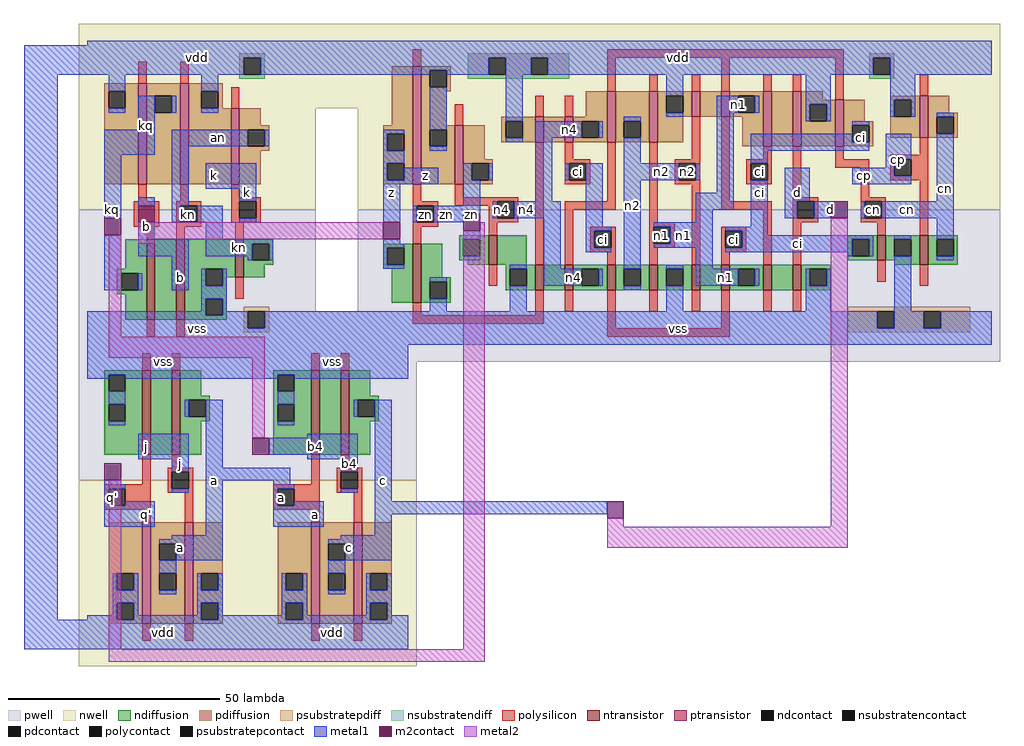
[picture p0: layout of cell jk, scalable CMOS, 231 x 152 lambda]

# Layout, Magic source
magic
tech scmos
<< pwell >>
rect -66 12 -10 36
rect 0 12 152 36
rect -66 0 152 12
rect -66 -28 14 0
<< nwell >>
rect -66 60 152 80
rect -66 36 -10 60
rect 0 36 152 60
rect -66 -72 14 -28
<< polysilicon >>
rect -52 66 -50 71
rect -42 66 -40 71
rect 13 70 15 74
rect -30 60 -28 65
rect 59 72 115 74
rect 59 64 61 72
rect 69 64 71 68
rect 79 64 81 68
rect 86 64 88 72
rect 96 64 98 68
rect 103 64 105 68
rect 23 56 25 61
rect 42 58 44 63
rect 49 58 51 63
rect -52 38 -50 42
rect -42 38 -40 42
rect -30 39 -28 42
rect -30 38 -23 39
rect -53 32 -47 38
rect -43 37 -37 38
rect -43 33 -42 37
rect -38 33 -37 37
rect -30 34 -28 38
rect -24 34 -23 38
rect -30 33 -23 34
rect 13 38 15 42
rect 23 39 25 42
rect 23 38 38 39
rect 13 37 19 38
rect 23 37 33 38
rect 13 33 14 37
rect 18 33 19 37
rect -43 32 -37 33
rect -50 29 -48 32
rect -43 29 -41 32
rect -29 29 -27 33
rect 13 32 19 33
rect 31 34 33 37
rect 37 34 38 38
rect 31 33 38 34
rect 13 28 15 32
rect 31 30 33 33
rect -29 15 -27 20
rect 42 23 44 52
rect 49 48 51 52
rect 49 47 55 48
rect 49 43 50 47
rect 54 43 55 47
rect 49 42 55 43
rect 59 38 61 52
rect 49 36 61 38
rect 49 23 51 36
rect 69 33 71 52
rect 79 48 81 58
rect 75 47 81 48
rect 75 43 76 47
rect 80 43 81 47
rect 75 42 81 43
rect 69 32 75 33
rect 55 31 61 32
rect 55 27 56 31
rect 60 27 61 31
rect 55 26 61 27
rect 59 23 61 26
rect 69 28 70 32
rect 74 28 75 32
rect 69 27 75 28
rect 69 23 71 27
rect 79 23 81 42
rect 86 38 88 58
rect 113 62 115 72
rect 133 63 135 68
rect 96 48 98 51
rect 92 47 98 48
rect 92 43 93 47
rect 97 43 98 47
rect 92 42 98 43
rect 103 39 105 51
rect 113 48 115 51
rect 133 49 135 53
rect 126 48 135 49
rect 113 46 121 48
rect 119 39 121 46
rect 126 44 127 48
rect 131 44 135 48
rect 126 43 135 44
rect 103 38 109 39
rect 86 36 98 38
rect 86 31 92 32
rect 86 27 87 31
rect 91 27 92 31
rect 86 26 92 27
rect 86 23 88 26
rect 96 23 98 36
rect 103 34 104 38
rect 108 34 109 38
rect 103 33 109 34
rect 119 38 125 39
rect 119 34 120 38
rect 124 34 125 38
rect 119 33 125 34
rect 103 23 105 33
rect 123 30 125 33
rect 133 30 135 43
rect 31 18 33 23
rect 123 19 125 24
rect 133 18 135 23
rect -50 6 -48 10
rect -43 6 -41 10
rect 13 11 15 14
rect 42 11 44 17
rect 49 12 51 17
rect 13 9 44 11
rect 59 8 61 17
rect 69 12 71 17
rect 79 12 81 17
rect 86 8 88 17
rect 96 12 98 17
rect 103 12 105 17
rect 59 6 88 8
rect -51 -2 -49 2
rect -44 -2 -42 2
rect -11 -2 -9 2
rect -4 -2 -2 2
rect -51 -29 -49 -22
rect -44 -25 -42 -22
rect -60 -30 -49 -29
rect -60 -34 -59 -30
rect -55 -34 -49 -30
rect -45 -26 -39 -25
rect -45 -30 -44 -26
rect -40 -30 -39 -26
rect -11 -29 -9 -22
rect -4 -25 -2 -22
rect -45 -31 -39 -30
rect -60 -35 -49 -34
rect -51 -38 -49 -35
rect -41 -38 -39 -31
rect -20 -30 -9 -29
rect -20 -34 -19 -30
rect -15 -34 -9 -30
rect -5 -26 1 -25
rect -5 -30 -4 -26
rect 0 -30 1 -26
rect -5 -31 1 -30
rect -20 -35 -9 -34
rect -11 -38 -9 -35
rect -1 -38 1 -31
rect -51 -66 -49 -62
rect -41 -66 -39 -62
rect -11 -66 -9 -62
rect -1 -66 1 -62
<< ndiffusion >>
rect -55 22 -50 29
rect -57 21 -50 22
rect -57 17 -56 21
rect -52 17 -50 21
rect -57 16 -50 17
rect -55 10 -50 16
rect -48 10 -43 29
rect -41 22 -29 29
rect -41 18 -36 22
rect -32 20 -29 22
rect -27 28 -20 29
rect 24 29 31 30
rect -27 24 -25 28
rect -21 24 -20 28
rect -27 23 -20 24
rect 6 27 13 28
rect 6 23 7 27
rect 11 23 13 27
rect -27 20 -22 23
rect 6 22 13 23
rect -32 18 -31 20
rect -41 15 -31 18
rect -41 11 -36 15
rect -32 11 -31 15
rect 8 14 13 22
rect 15 20 20 28
rect 24 25 25 29
rect 29 25 31 29
rect 24 24 31 25
rect 26 23 31 24
rect 33 23 40 30
rect 116 29 123 30
rect 116 25 117 29
rect 121 25 123 29
rect 116 24 123 25
rect 125 29 133 30
rect 125 25 127 29
rect 131 25 133 29
rect 125 24 133 25
rect 15 19 22 20
rect 15 15 17 19
rect 21 15 22 19
rect 35 22 42 23
rect 35 18 36 22
rect 40 18 42 22
rect 35 17 42 18
rect 44 17 49 23
rect 51 22 59 23
rect 51 18 53 22
rect 57 18 59 22
rect 51 17 59 18
rect 61 22 69 23
rect 61 18 63 22
rect 67 18 69 22
rect 61 17 69 18
rect 71 22 79 23
rect 71 18 73 22
rect 77 18 79 22
rect 71 17 79 18
rect 81 17 86 23
rect 88 22 96 23
rect 88 18 90 22
rect 94 18 96 22
rect 88 17 96 18
rect 98 17 103 23
rect 105 22 112 23
rect 105 18 107 22
rect 111 18 112 22
rect 127 23 133 24
rect 135 29 142 30
rect 135 25 137 29
rect 141 25 142 29
rect 135 23 142 25
rect 105 17 112 18
rect 15 14 22 15
rect -41 10 -31 11
rect -60 -3 -51 -2
rect -60 -7 -59 -3
rect -55 -7 -51 -3
rect -60 -10 -51 -7
rect -60 -14 -59 -10
rect -55 -14 -51 -10
rect -60 -22 -51 -14
rect -49 -22 -44 -2
rect -42 -8 -37 -2
rect -20 -3 -11 -2
rect -20 -7 -19 -3
rect -15 -7 -11 -3
rect -42 -9 -35 -8
rect -42 -13 -40 -9
rect -36 -13 -35 -9
rect -42 -14 -35 -13
rect -20 -10 -11 -7
rect -20 -14 -19 -10
rect -15 -14 -11 -10
rect -42 -22 -37 -14
rect -20 -22 -11 -14
rect -9 -22 -4 -2
rect -2 -8 3 -2
rect -2 -9 5 -8
rect -2 -13 0 -9
rect 4 -13 5 -9
rect -2 -14 5 -13
rect -2 -22 3 -14
<< pdiffusion >>
rect -60 64 -52 66
rect -60 60 -59 64
rect -55 60 -52 64
rect -60 42 -52 60
rect -50 63 -42 66
rect -50 59 -48 63
rect -44 59 -42 63
rect -50 42 -42 59
rect -40 64 -32 66
rect -40 60 -37 64
rect -33 60 -32 64
rect -40 42 -30 60
rect -28 56 -23 60
rect 8 56 13 70
rect -28 55 -21 56
rect -28 51 -26 55
rect -22 51 -21 55
rect -28 50 -21 51
rect 6 54 13 56
rect 6 50 7 54
rect 11 50 13 54
rect -28 42 -23 50
rect 6 47 13 50
rect 6 43 7 47
rect 11 43 13 47
rect 6 42 13 43
rect 15 69 22 70
rect 15 65 17 69
rect 21 65 22 69
rect 15 64 22 65
rect 15 56 21 64
rect 54 58 59 64
rect 34 57 42 58
rect 15 55 23 56
rect 15 51 17 55
rect 21 51 23 55
rect 15 42 23 51
rect 25 48 30 56
rect 34 53 35 57
rect 39 53 42 57
rect 34 52 42 53
rect 44 52 49 58
rect 51 57 59 58
rect 51 53 53 57
rect 57 53 59 57
rect 51 52 59 53
rect 61 57 69 64
rect 61 53 63 57
rect 67 53 69 57
rect 61 52 69 53
rect 71 63 79 64
rect 71 59 73 63
rect 77 59 79 63
rect 71 58 79 59
rect 81 58 86 64
rect 88 63 96 64
rect 88 59 90 63
rect 94 59 96 63
rect 88 58 96 59
rect 71 52 77 58
rect 25 47 32 48
rect 25 43 27 47
rect 31 43 32 47
rect 25 42 32 43
rect 91 51 96 58
rect 98 51 103 64
rect 105 62 110 64
rect 126 62 133 63
rect 105 61 113 62
rect 105 57 107 61
rect 111 57 113 61
rect 105 51 113 57
rect 115 57 120 62
rect 126 58 127 62
rect 131 58 133 62
rect 115 56 122 57
rect 115 52 117 56
rect 121 52 122 56
rect 126 53 133 58
rect 135 59 140 63
rect 135 58 142 59
rect 135 54 137 58
rect 141 54 142 58
rect 135 53 142 54
rect 115 51 122 52
rect -59 -50 -51 -38
rect -59 -54 -57 -50
rect -53 -54 -51 -50
rect -59 -57 -51 -54
rect -59 -61 -57 -57
rect -53 -61 -51 -57
rect -59 -62 -51 -61
rect -49 -43 -41 -38
rect -49 -47 -47 -43
rect -43 -47 -41 -43
rect -49 -50 -41 -47
rect -49 -54 -47 -50
rect -43 -54 -41 -50
rect -49 -62 -41 -54
rect -39 -50 -32 -38
rect -39 -54 -37 -50
rect -33 -54 -32 -50
rect -39 -57 -32 -54
rect -39 -61 -37 -57
rect -33 -61 -32 -57
rect -39 -62 -32 -61
rect -19 -50 -11 -38
rect -19 -54 -17 -50
rect -13 -54 -11 -50
rect -19 -57 -11 -54
rect -19 -61 -17 -57
rect -13 -61 -11 -57
rect -19 -62 -11 -61
rect -9 -43 -1 -38
rect -9 -47 -7 -43
rect -3 -47 -1 -43
rect -9 -50 -1 -47
rect -9 -54 -7 -50
rect -3 -54 -1 -50
rect -9 -62 -1 -54
rect 1 -50 8 -38
rect 1 -54 3 -50
rect 7 -54 8 -50
rect 1 -57 8 -54
rect 1 -61 3 -57
rect 7 -61 8 -57
rect 1 -62 8 -61
<< metal1 >>
rect -64 75 150 76
rect -79 72 150 75
rect -79 68 -27 72
rect -23 69 31 72
rect -23 68 17 69
rect -79 -61 -71 68
rect -59 64 -55 68
rect -37 64 -33 68
rect -59 59 -55 60
rect -52 55 -48 63
rect -44 59 -43 63
rect -37 59 -33 60
rect 21 68 31 69
rect 35 68 41 72
rect 45 68 122 72
rect 126 68 150 72
rect 17 55 21 65
rect -60 49 -48 55
rect -44 51 -26 55
rect -22 51 -21 55
rect 6 54 11 55
rect -60 34 -56 49
rect -60 17 -56 30
rect -52 37 -48 39
rect -44 37 -40 51
rect 6 50 7 54
rect 35 57 39 68
rect 73 63 77 68
rect 73 58 77 59
rect 85 59 90 63
rect 94 59 95 63
rect 106 61 112 68
rect 63 57 67 58
rect 35 52 39 53
rect 42 53 53 57
rect 57 53 58 57
rect 17 50 21 51
rect 6 47 11 50
rect -36 41 -24 47
rect -28 38 -24 41
rect -44 33 -42 37
rect -38 33 -32 37
rect -28 33 -24 34
rect 6 43 7 47
rect 11 43 19 46
rect 6 42 19 43
rect 25 43 27 47
rect 31 43 32 47
rect 6 33 10 42
rect 25 37 29 43
rect 42 38 46 53
rect 63 47 67 53
rect 49 43 50 47
rect 13 33 14 37
rect 18 35 29 37
rect 18 33 25 35
rect -52 29 -48 33
rect -36 29 -32 33
rect -52 25 -40 29
rect -36 28 -20 29
rect -36 25 -25 28
rect -52 17 -51 21
rect -44 17 -40 25
rect -26 24 -25 25
rect -21 24 -20 28
rect 6 28 10 29
rect 32 34 33 38
rect 37 34 48 38
rect 25 29 29 31
rect 6 27 11 28
rect 6 23 7 27
rect 25 24 29 25
rect 6 22 11 23
rect 36 22 40 23
rect -37 18 -36 22
rect -32 18 -31 22
rect -37 15 -31 18
rect -37 12 -36 15
rect -64 11 -36 12
rect -32 12 -31 15
rect 17 19 21 20
rect 17 12 21 15
rect 44 22 48 34
rect 54 32 58 47
rect 63 43 76 47
rect 80 43 81 47
rect 54 31 60 32
rect 54 27 56 31
rect 54 26 60 27
rect 63 22 67 43
rect 85 40 89 59
rect 106 57 107 61
rect 111 57 112 61
rect 126 62 132 68
rect 126 58 127 62
rect 131 58 132 62
rect 137 58 141 59
rect 117 56 121 57
rect 80 36 89 40
rect 93 52 117 54
rect 93 50 121 52
rect 93 47 97 50
rect 125 48 131 54
rect 125 46 127 48
rect 80 33 84 36
rect 70 32 84 33
rect 93 32 97 43
rect 101 38 107 46
rect 117 44 127 46
rect 117 42 131 44
rect 137 38 141 54
rect 101 34 104 38
rect 108 34 112 38
rect 119 34 120 38
rect 124 34 141 38
rect 74 28 84 32
rect 70 27 84 28
rect 44 18 53 22
rect 57 18 58 22
rect 36 12 40 18
rect 63 17 67 18
rect 73 22 77 23
rect 80 22 84 27
rect 87 31 97 32
rect 91 30 97 31
rect 91 29 122 30
rect 91 27 117 29
rect 87 26 117 27
rect 116 25 117 26
rect 121 25 122 29
rect 127 29 131 30
rect 80 18 90 22
rect 94 18 95 22
rect 106 18 107 22
rect 111 18 112 22
rect 73 12 77 18
rect 106 12 112 18
rect 127 12 131 25
rect 137 29 141 34
rect 137 24 141 25
rect -32 11 -26 12
rect -64 8 -26 11
rect -22 8 123 12
rect 127 8 134 12
rect 138 8 150 12
rect -64 4 150 8
rect -64 -3 12 4
rect -64 -4 -59 -3
rect -55 -4 -19 -3
rect -59 -10 -55 -7
rect -15 -4 12 -3
rect -41 -13 -40 -9
rect -59 -15 -55 -14
rect -52 -23 -40 -17
rect -60 -29 -56 -28
rect -44 -26 -40 -23
rect -60 -30 -55 -29
rect -60 -34 -59 -30
rect -44 -31 -40 -30
rect -36 -25 -32 -9
rect -19 -10 -15 -7
rect -1 -13 0 -9
rect -19 -15 -15 -14
rect -12 -18 0 -17
rect -21 -22 0 -18
rect -12 -23 0 -22
rect -36 -28 -16 -25
rect -55 -34 -48 -33
rect -60 -39 -48 -34
rect -36 -41 -32 -28
rect -20 -29 -16 -28
rect -4 -26 0 -23
rect -20 -30 -15 -29
rect -20 -34 -19 -30
rect -4 -31 0 -30
rect 4 -33 8 -9
rect -15 -34 -8 -33
rect -20 -39 -8 -34
rect 4 -36 59 -33
rect 4 -41 8 -36
rect -44 -42 -32 -41
rect -4 -42 8 -41
rect -47 -43 -32 -42
rect -43 -47 -32 -43
rect -7 -43 8 -42
rect -3 -47 8 -43
rect -47 -50 -43 -47
rect -7 -50 -3 -47
rect -58 -54 -57 -50
rect -53 -54 -52 -50
rect -58 -57 -52 -54
rect -47 -55 -43 -54
rect -38 -54 -37 -50
rect -33 -54 -32 -50
rect -58 -60 -57 -57
rect -64 -61 -57 -60
rect -53 -60 -52 -57
rect -38 -57 -32 -54
rect -38 -60 -37 -57
rect -53 -61 -37 -60
rect -33 -60 -32 -57
rect -18 -54 -17 -50
rect -13 -54 -12 -50
rect -18 -57 -12 -54
rect -7 -55 -3 -54
rect 2 -54 3 -50
rect 7 -54 8 -50
rect -18 -60 -17 -57
rect -33 -61 -17 -60
rect -13 -60 -12 -57
rect 2 -57 8 -54
rect 2 -60 3 -57
rect -13 -61 3 -60
rect 7 -60 8 -57
rect 7 -61 12 -60
rect -79 -68 12 -61
<< metal2 >>
rect -59 6 -56 30
rect -52 29 6 33
rect 29 31 30 33
rect -52 28 -48 29
rect -59 1 -22 6
rect -25 -18 -22 1
rect -59 -68 -56 -28
rect 25 -68 30 31
rect 59 -39 63 -37
rect 112 -39 116 34
rect 59 -44 116 -39
rect -59 -71 30 -68
<< ntransistor >>
rect -50 10 -48 29
rect -43 10 -41 29
rect -29 20 -27 29
rect 13 14 15 28
rect 31 23 33 30
rect 123 24 125 30
rect 42 17 44 23
rect 49 17 51 23
rect 59 17 61 23
rect 69 17 71 23
rect 79 17 81 23
rect 86 17 88 23
rect 96 17 98 23
rect 103 17 105 23
rect 133 23 135 30
rect -51 -22 -49 -2
rect -44 -22 -42 -2
rect -11 -22 -9 -2
rect -4 -22 -2 -2
<< ptransistor >>
rect -52 42 -50 66
rect -42 42 -40 66
rect -30 42 -28 60
rect 13 42 15 70
rect 23 42 25 56
rect 42 52 44 58
rect 49 52 51 58
rect 59 52 61 64
rect 69 52 71 64
rect 79 58 81 64
rect 86 58 88 64
rect 96 51 98 64
rect 103 51 105 64
rect 113 51 115 62
rect 133 53 135 63
rect -51 -62 -49 -38
rect -41 -62 -39 -38
rect -11 -62 -9 -38
rect -1 -62 1 -38
<< polycontact >>
rect -42 33 -38 37
rect -28 34 -24 38
rect 14 33 18 37
rect 33 34 37 38
rect 50 43 54 47
rect 76 43 80 47
rect 56 27 60 31
rect 70 28 74 32
rect 93 43 97 47
rect 127 44 131 48
rect 87 27 91 31
rect 104 34 108 38
rect 120 34 124 38
rect -59 -34 -55 -30
rect -44 -30 -40 -26
rect -19 -34 -15 -30
rect -4 -30 0 -26
<< ndcontact >>
rect -56 17 -52 21
rect -36 18 -32 22
rect -25 24 -21 28
rect 7 23 11 27
rect -36 11 -32 15
rect 25 25 29 29
rect 117 25 121 29
rect 127 25 131 29
rect 17 15 21 19
rect 36 18 40 22
rect 53 18 57 22
rect 63 18 67 22
rect 73 18 77 22
rect 90 18 94 22
rect 107 18 111 22
rect 137 25 141 29
rect -59 -7 -55 -3
rect -59 -14 -55 -10
rect -19 -7 -15 -3
rect -40 -13 -36 -9
rect -19 -14 -15 -10
rect 0 -13 4 -9
<< pdcontact >>
rect -59 60 -55 64
rect -48 59 -44 63
rect -37 60 -33 64
rect -26 51 -22 55
rect 7 50 11 54
rect 7 43 11 47
rect 17 65 21 69
rect 17 51 21 55
rect 35 53 39 57
rect 53 53 57 57
rect 63 53 67 57
rect 73 59 77 63
rect 90 59 94 63
rect 27 43 31 47
rect 107 57 111 61
rect 127 58 131 62
rect 117 52 121 56
rect 137 54 141 58
rect -57 -54 -53 -50
rect -57 -61 -53 -57
rect -47 -47 -43 -43
rect -47 -54 -43 -50
rect -37 -54 -33 -50
rect -37 -61 -33 -57
rect -17 -54 -13 -50
rect -17 -61 -13 -57
rect -7 -47 -3 -43
rect -7 -54 -3 -50
rect 3 -54 7 -50
rect 3 -61 7 -57
<< m2contact >>
rect -60 30 -56 34
rect -52 33 -48 37
rect 6 29 10 33
rect 25 31 29 35
rect 112 34 116 38
rect -60 -28 -56 -24
rect -25 -22 -21 -18
rect 59 -37 63 -33
<< psubstratepcontact >>
rect -26 8 -22 12
rect 123 8 127 12
rect 134 8 138 12
<< nsubstratencontact >>
rect -27 68 -23 72
rect 31 68 35 72
rect 41 68 45 72
rect 122 68 126 72
<< psubstratepdiff >>
rect -27 12 -21 13
rect -27 8 -26 12
rect -22 8 -21 12
rect -27 7 -21 8
rect 116 12 145 13
rect 116 8 123 12
rect 127 8 134 12
rect 138 8 145 12
rect 116 7 145 8
<< nsubstratendiff >>
rect -28 72 -22 73
rect -28 68 -27 72
rect -23 68 -22 72
rect 26 72 50 73
rect -28 67 -22 68
rect 26 68 31 72
rect 35 68 41 72
rect 45 68 50 72
rect 26 67 50 68
rect 121 72 127 73
rect 121 68 122 72
rect 126 68 127 72
rect 121 67 127 68
<< labels >>
rlabel polycontact 16 35 16 35 6 zn
rlabel polycontact 34 36 34 36 6 n4
rlabel polycontact 58 29 58 29 6 ci
rlabel polycontact 52 45 52 45 6 ci
rlabel polycontact 72 30 72 30 6 n1
rlabel polycontact 89 29 89 29 6 ci
rlabel polycontact 95 45 95 45 6 ci
rlabel polycontact 78 45 78 45 6 n2
rlabel polycontact 122 36 122 36 6 cn
rlabel metal1 21 35 21 35 6 zn
rlabel metal1 8 40 8 40 6 z
rlabel metal1 16 44 16 44 6 z
rlabel metal1 27 35 27 35 6 zn
rlabel metal1 51 20 51 20 6 n4
rlabel polycontact 57 29 57 29 6 ci
rlabel polycontact 53 45 53 45 6 ci
rlabel metal1 50 55 50 55 6 n4
rlabel metal1 76 8 76 8 6 vss
rlabel metal1 77 30 77 30 6 n1
rlabel metal1 72 45 72 45 6 n2
rlabel metal1 65 37 65 37 6 n2
rlabel metal1 76 72 76 72 6 vdd
rlabel metal1 87 20 87 20 6 n1
rlabel metal1 112 36 112 36 6 d
rlabel metal1 104 40 104 40 6 d
rlabel metal1 95 40 95 40 6 ci
rlabel metal1 90 61 90 61 6 n1
rlabel metal1 104 28 104 28 6 ci
rlabel metal1 130 36 130 36 6 cn
rlabel metal1 120 44 120 44 6 cp
rlabel metal1 128 48 128 48 6 cp
rlabel metal1 139 41 139 41 6 cn
rlabel pdcontact 119 53 119 53 6 ci
rlabel metal1 40 36 40 36 6 n4
rlabel metal1 -38 72 -38 72 6 vdd
rlabel metal1 -33 53 -33 53 6 an
rlabel metal1 -46 -64 -46 -64 2 vdd
rlabel metal1 -46 0 -46 0 2 vss
rlabel metal1 -6 0 -6 0 2 vss
rlabel metal1 -6 -64 -6 -64 2 vdd
rlabel metal1 -50 32 -50 32 6 b
rlabel metal1 -38 8 -38 8 6 vss
rlabel metal1 -10 -36 -10 -36 2 a
rlabel polycontact -18 -32 -18 -32 2 a
rlabel metal1 -42 20 -42 20 6 b
rlabel metal1 -26 40 -26 40 1 k
rlabel metal1 -34 44 -34 44 1 k
rlabel polycontact -40 35 -40 35 1 kn
rlabel polycontact -38 35 -38 35 1 kn
rlabel ntransistor -28 27 -28 27 1 kn
rlabel metal1 -42 -24 -42 -24 1 j
rlabel ntransistor -50 -20 -50 -20 1 j
rlabel metal1 -50 -36 -50 -36 1 q'
rlabel polycontact -58 -32 -58 -32 1 q'
rlabel metal1 -42 -44 -42 -44 1 a
rlabel metal1 -34 -28 -34 -28 1 a
rlabel metal1 6 -28 6 -28 1 c
rlabel metal1 -2 -44 -2 -44 1 c
rlabel ptransistor -50 56 -50 56 1 kq
rlabel metal1 -58 36 -58 36 1 kq
rlabel metal1 -2 -24 -2 -24 1 b4
rlabel ntransistor -10 -20 -10 -20 1 b4
<< end >>
